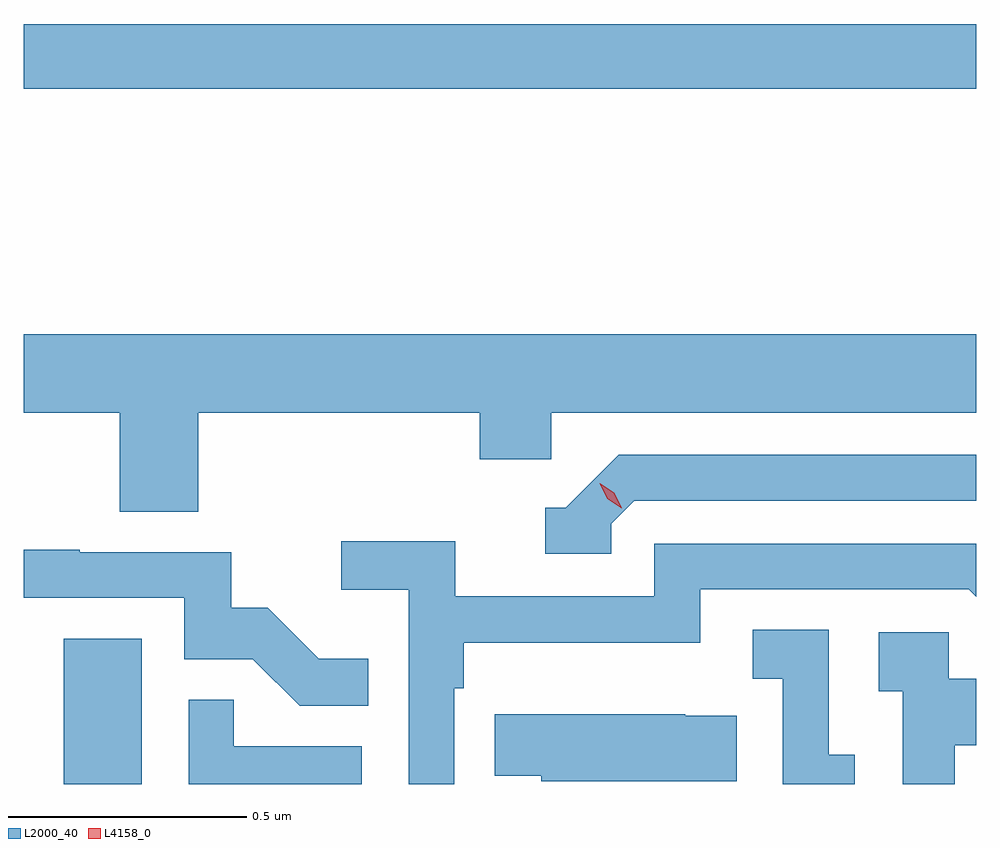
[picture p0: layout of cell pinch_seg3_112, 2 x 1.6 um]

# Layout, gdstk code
import gdstk
lib = gdstk.Library(unit=1e-6, precision=1e-09)
def R(c, l, rs):  # rectangles x0, y0, x1, y1
    for r in rs: c.add(gdstk.rectangle(r[:2], r[2:], *l))
def P(c, l, *ps):  # polygons
    for p in ps: c.add(gdstk.Polygon(p, *l))
L2000_40 = (2000, 40)
L4158_0 = (4158, 0)

pinch_seg3_112 = lib.new_cell('pinch_seg3_112')
R(pinch_seg3_112, L2000_40, [(1020.464,713.456,1020.628,713.761), (1020.38,714.916,1022.38,715.052)])
P(pinch_seg3_112, L2000_40, [(1020.746,714.236),(1021.337,714.236),(1021.337,714.138),(1021.488,714.138),(1021.488,714.236),(1022.38,714.236),(1022.38,714.4),(1020.38,714.4),(1020.38,714.236),(1020.581,714.236),(1020.581,714.028),(1020.746,714.028)],
  [(1021.614,714.003),(1021.662,714.051),(1022.38,714.051),(1022.38,714.147),(1021.629,714.147),(1021.518,714.036),(1021.475,714.036),(1021.475,713.94),(1021.614,713.94)],
  [(1021.284,713.657),(1021.304,713.657),(1021.304,713.753),(1021.8,713.753),(1021.8,713.865),(1022.364,713.865),(1022.38,713.849),(1022.38,713.961),(1021.704,713.961),(1021.704,713.85),(1021.286,713.85),(1021.286,713.966),(1021.047,713.966),(1021.047,713.864),(1021.188,713.864),(1021.188,713.456),(1021.284,713.456)],
  [(1021.103,713.719),(1020.999,713.719),(1020.892,713.826),(1020.816,713.826),(1020.816,713.943),(1020.497,713.943),(1020.497,713.948),(1020.38,713.948),(1020.38,713.847),(1020.717,713.847),(1020.717,713.718),(1020.861,713.718),(1020.959,713.62),(1021.103,713.62)],
  [(1022.125,713.517),(1022.07,713.517),(1022.07,713.78),(1021.911,713.78),(1021.911,713.677),(1021.974,713.677),(1021.974,713.456),(1022.125,713.456)],
  [(1022.335,713.537),(1022.38,713.537),(1022.38,713.677),(1022.322,713.677),(1022.322,713.775),(1022.175,713.775),(1022.175,713.651),(1022.226,713.651),(1022.226,713.456),(1022.335,713.456)],
  [(1021.09,713.535),(1020.821,713.535),(1020.821,713.633),(1020.726,713.633),(1020.726,713.456),(1021.09,713.456)],
  [(1021.877,713.599),(1021.769,713.599),(1021.769,713.602),(1021.369,713.602),(1021.369,713.473),(1021.467,713.473),(1021.467,713.462),(1021.877,713.462)])
P(pinch_seg3_112, L4158_0, [(1021.636,714.035),(1021.605,714.055),(1021.589,714.087),(1021.589,714.088),(1021.589,714.088),(1021.62,714.068),(1021.636,714.035),(1021.636,714.035)])

lib.write_gds('pinch_seg3_112.gds')
